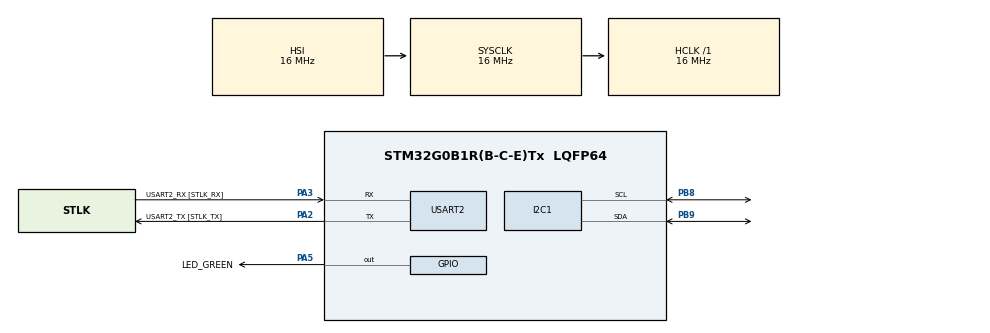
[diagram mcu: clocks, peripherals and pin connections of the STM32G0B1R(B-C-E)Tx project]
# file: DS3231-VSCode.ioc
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Mcu.Family=STM32G0
Mcu.Name=STM32G0B1R(B-C-E)Tx
Mcu.Package=LQFP64
PA13.GPIO_Label=TMS
PA13.Mode=Serial_Wire
PA13.Signal=SYS_SWDIO
PA14-BOOT0.GPIO_Label=TCK
PA14-BOOT0.Mode=Serial_Wire
PA14-BOOT0.Signal=SYS_SWCLK
PA2.GPIO_Label=USART2_TX [STLK_TX]
PA2.Mode=Asynchronous
PA2.Signal=USART2_TX
PA3.GPIO_Label=USART2_RX [STLK_RX]
PA3.Mode=Asynchronous
PA3.Signal=USART2_RX
PA5.GPIO_Label=LED_GREEN
PA5.GPIO_Speed=GPIO_SPEED_FREQ_HIGH
PA5.Signal=GPIO_Output
PB8.Mode=I2C
PB8.Signal=I2C1_SCL
PB9.Mode=I2C
PB9.Signal=I2C1_SDA
PC13.Mode=SYS_WakeUp1
PC13.Signal=SYS_WKUP2
PC14-OSC32_IN\ (PC14).Mode=LSE-External-Oscillator
PC14-OSC32_IN\ (PC14).Signal=RCC_OSC32_IN
PC15-OSC32_OUT\ (PC15).Mode=LSE-External-Oscillator
PC15-OSC32_OUT\ (PC15).Signal=RCC_OSC32_OUT
PF0-OSC_IN\ (PF0).GPIO_Label=MCO
PF0-OSC_IN\ (PF0).Mode=HSE-External-Clock-Source
PF0-OSC_IN\ (PF0).Signal=RCC_OSC_IN
ProjectManager.HeapSize=0x200
ProjectManager.StackSize=0x400
ProjectManager.TargetToolchain=CMake
RCC.AHBFreq_Value=16000000
RCC.CortexFreq_Value=16000000
RCC.EXTERNAL_CLOCK_VALUE=12288000
RCC.HCLKFreq_Value=16000000
RCC.HSE_VALUE=8000000
RCC.HSI48_VALUE=48000000
RCC.HSI_VALUE=16000000
RCC.SYSCLKFreq_VALUE=16000000
RCC.USBFreq_Value=48000000
RCC.VCOOutputFreq_Value=128000000
USART2.VirtualMode-Asynchronous=VM_ASYNC
VP_SYS_VS_DBSignals.Mode=DisableDeadBatterySignals
board=NUCLEO-G0B1RE

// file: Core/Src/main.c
/* USER CODE BEGIN Header */
/**
  ******************************************************************************
  * @file           : main.c
  * @brief          : Main program body
  ******************************************************************************
  * @attention
  *
  * Copyright (c) 2024 STMicroelectronics.
  * All rights reserved.
  *
  * This software is licensed under terms that can be found in the LICENSE file
  * in the root directory of this software component.
  * If no LICENSE file comes with this software, it is provided AS-IS.
  *
  ******************************************************************************
  */
/* USER CODE END Header */
#include "main.h"

/* USER CODE BEGIN Includes */
#include <stdio.h>
#include <stdarg.h>

#include "ds3231.h"
/* USER CODE END Includes */

/* USER CODE BEGIN PD */
#define DS3231_I2C_DEV_ADDR 0x68
/* USER CODE END PD */

/* USER CODE BEGIN PM */
DS3231_I2C_DEVICE_DEFINE(clock_chip, "DS3231")
/* USER CODE END PM */

I2C_HandleTypeDef hi2c1;

UART_HandleTypeDef huart2;

/* USER CODE BEGIN PV */
uint8_t debug_buf[100];
/* USER CODE END PV */

void SystemClock_Config(void);
static void MX_GPIO_Init(void);
static void MX_I2C1_Init(void);
static void MX_USART2_UART_Init(void);
/* USER CODE BEGIN PFP */
static EMBEDD_RESULT ds3231_bus_write(const struct embedd_device_t* dev, const uint8_t* data_ptr, uint32_t data_size);
static EMBEDD_RESULT ds3231_bus_read(const struct embedd_device_t* dev, uint8_t* data_ptr, uint32_t data_size);

static void debug(const char *format, ...) __attribute__ ((format (printf, 1, 2)));
/* USER CODE END PFP */

/* USER CODE BEGIN 0 */
static embedd_bus_t ds3231_bus = {
    .write = ds3231_bus_write,
    .read = ds3231_bus_read
};
/* USER CODE END 0 */

int main(void)
{

  /* MCU Configuration--------------------------------------------------------*/

  /* Reset of all peripherals, Initializes the Flash interface and the Systick. */
  HAL_Init();

  /* Configure the system clock */
  SystemClock_Config();

  /* Initialize all configured peripherals */
  MX_GPIO_Init();
  MX_I2C1_Init();
  MX_USART2_UART_Init();
  /* USER CODE BEGIN 2 */
  /* Assign the I2C bus object to the device object */
  clock_chip.bus = &ds3231_bus;

  /* Configure the I2C device settings for the DS3231 */
  embedd_i2c_dev_cfg_t clock_chip_cfg = {.addr = DS3231_I2C_DEV_ADDR};
  embedd_i2c_set_dev_config(&clock_chip, &clock_chip_cfg);

  /* Clear the time keeping registers */
  uint8_t reg_value = 0;
   if (DS3231_WRITE_REG( clock_chip, ds3231_seconds,      reg_value ) == EMBEDD_RESULT_OK &&
       DS3231_WRITE_REG( clock_chip, ds3231_minutes,      reg_value ) == EMBEDD_RESULT_OK &&
       DS3231_WRITE_REG( clock_chip, ds3231_hour,         reg_value ) == EMBEDD_RESULT_OK &&
       DS3231_WRITE_REG( clock_chip, ds3231_day,          reg_value ) == EMBEDD_RESULT_OK &&
       DS3231_WRITE_REG( clock_chip, ds3231_date,         reg_value ) == EMBEDD_RESULT_OK &&
       DS3231_WRITE_REG( clock_chip, ds3231_monthcentury, reg_value ) == EMBEDD_RESULT_OK &&
       DS3231_WRITE_REG( clock_chip, ds3231_year,         reg_value ) == EMBEDD_RESULT_OK)
    {
        debug("Clock has been successfully reset\r\n");
    }

  /* USER CODE END 2 */

  /* Infinite loop */
  /* USER CODE BEGIN WHILE */
  while (1)
  {
    uint8_t seconds_reg         = 0;
    uint8_t minutes_reg         = 0;
    uint8_t hour_reg            = 0;
    uint8_t day_reg             = 0;
    uint8_t date_reg            = 0;
    uint8_t monthcentury_reg    = 0;
    uint8_t year_reg            = 0;
    uint8_t alarm_1_seconds_reg = 0;
    uint8_t alarm_1_minutes_reg = 0;
    uint8_t alarm_1_hour_reg    = 0;
    uint8_t alarm_1_daydate_reg = 0;
    uint8_t alarm_2_minutes_reg = 0;
    uint8_t alarm_2_hour_reg    = 0;
    uint8_t alarm_2_daydate_reg = 0;
    uint8_t control_reg         = 0;
    uint8_t status_reg          = 0;
    uint8_t aging_offset_reg    = 0;
    uint8_t msb_of_temp_reg     = 0;
    uint8_t lsb_of_temp_reg     = 0;

    // Read all registers
    if (DS3231_READ_REG( clock_chip, ds3231_seconds,         seconds_reg )         == EMBEDD_RESULT_OK &&
        DS3231_READ_REG( clock_chip, ds3231_minutes,         minutes_reg )         == EMBEDD_RESULT_OK &&
        DS3231_READ_REG( clock_chip, ds3231_hour,            hour_reg )            == EMBEDD_RESULT_OK &&
        DS3231_READ_REG( clock_chip, ds3231_day,             day_reg )             == EMBEDD_RESULT_OK &&
        DS3231_READ_REG( clock_chip, ds3231_date,            date_reg )            == EMBEDD_RESULT_OK &&
        DS3231_READ_REG( clock_chip, ds3231_monthcentury,    monthcentury_reg )    == EMBEDD_RESULT_OK &&
        DS3231_READ_REG( clock_chip, ds3231_year,            year_reg )            == EMBEDD_RESULT_OK &&
        DS3231_READ_REG( clock_chip, ds3231_alarm_1_seconds, alarm_1_seconds_reg ) == EMBEDD_RESULT_OK &&
        DS3231_READ_REG( clock_chip, ds3231_alarm_1_minutes, alarm_1_minutes_reg ) == EMBEDD_RESULT_OK &&
        DS3231_READ_REG( clock_chip, ds3231_alarm_1_hour,    alarm_1_hour_reg )    == EMBEDD_RESULT_OK &&
        DS3231_READ_REG( clock_chip, ds3231_alarm_1_daydate, alarm_1_daydate_reg ) == EMBEDD_RESULT_OK &&
        DS3231_READ_REG( clock_chip, ds3231_alarm_2_minutes, alarm_2_minutes_reg ) == EMBEDD_RESULT_OK &&
        DS3231_READ_REG( clock_chip, ds3231_alarm_2_hour,    alarm_2_hour_reg )    == EMBEDD_RESULT_OK &&
        DS3231_READ_REG( clock_chip, ds3231_alarm_2_daydate, alarm_2_daydate_reg ) == EMBEDD_RESULT_OK &&
        DS3231_READ_REG( clock_chip, ds3231_control,         control_reg )         == EMBEDD_RESULT_OK &&
        DS3231_READ_REG( clock_chip, ds3231_status,          status_reg )          == EMBEDD_RESULT_OK &&
        DS3231_READ_REG( clock_chip, ds3231_aging_offset,    aging_offset_reg )    == EMBEDD_RESULT_OK &&
        DS3231_READ_REG( clock_chip, ds3231_msb_of_temp,     msb_of_temp_reg )     == EMBEDD_RESULT_OK &&
        DS3231_READ_REG( clock_chip, ds3231_lsb_of_temp,     lsb_of_temp_reg )     == EMBEDD_RESULT_OK)
    {
      /* USER CODE BEGIN IN CASE OF SUCCESS */
      debug("Register map:\r\n");
      debug("  SECONDS           - 0x%02X\r\n", seconds_reg);
      debug("  MINUTES           - 0x%02X\r\n", minutes_reg);
      debug("  HOUR              - 0x%02X\r\n", hour_reg);
      debug("  DAY               - 0x%02X\r\n", day_reg);
      debug("  DATE              - 0x%02X\r\n", date_reg);
      debug("  MONTH_CENTURY     - 0x%02X\r\n", monthcentury_reg);
      debug("  YEAR              - 0x%02X\r\n", year_reg);
      debug("  ALARM_1_SECONDS   - 0x%02X\r\n", alarm_1_seconds_reg);
      debug("  ALARM_1_MINUTES   - 0x%02X\r\n", alarm_1_minutes_reg);
      debug("  ALARM_1_HOUR      - 0x%02X\r\n", alarm_1_hour_reg);
      debug("  ALARM_2_MINUTES   - 0x%02X\r\n", alarm_2_minutes_reg);
      debug("  ALARM_2_HOUR      - 0x%02X\r\n", alarm_2_hour_reg);
      debug("  ALARM_2_DAY_DATE  - 0x%02X\r\n", alarm_2_daydate_reg);
      debug("  CONTROL           - 0x%02X\r\n", control_reg);
      debug("  STATUS            - 0x%02X\r\n", status_reg);
      debug("  AGING_OFFSET      - 0x%02X\r\n", aging_offset_reg);
      debug("  TEMPERATURE_MSB   - 0x%02X\r\n", msb_of_temp_reg);
      debug("  TEMPERATURE_LSB   - 0x%02X\r\n", lsb_of_temp_reg);
      /* USER CODE END IN CASE OF SUCCESS */
    }
    else
    {
      /* USER CODE BEGIN IN CASE OF ERROR */
      debug("Registers reading error!\r\n");
      /* USER CODE END IN CASE OF ERROR */
    }
    HAL_Delay(5000); // Wait 5 seconds before reading again
    /* USER CODE END WHILE */

  }
}

void SystemClock_Config(void)
{
  RCC_OscInitTypeDef RCC_OscInitStruct = {0};
  RCC_ClkInitTypeDef RCC_ClkInitStruct = {0};

  /** Configure the main internal regulator output voltage
  */
  HAL_PWREx_ControlVoltageScaling(PWR_REGULATOR_VOLTAGE_SCALE1);

  /** Initializes the RCC Oscillators according to the specified parameters
  * in the RCC_OscInitTypeDef structure.
  */
  RCC_OscInitStruct.OscillatorType = RCC_OSCILLATORTYPE_HSI;
  RCC_OscInitStruct.HSIState = RCC_HSI_ON;
  RCC_OscInitStruct.HSIDiv = RCC_HSI_DIV1;
  RCC_OscInitStruct.HSICalibrationValue = RCC_HSICALIBRATION_DEFAULT;
  RCC_OscInitStruct.PLL.PLLState = RCC_PLL_NONE;
  if (HAL_RCC_OscConfig(&RCC_OscInitStruct) != HAL_OK)
  {
    Error_Handler();
  }

  /** Initializes the CPU, AHB and APB buses clocks
  */
  RCC_ClkInitStruct.ClockType = RCC_CLOCKTYPE_HCLK|RCC_CLOCKTYPE_SYSCLK
                              |RCC_CLOCKTYPE_PCLK1;
  RCC_ClkInitStruct.SYSCLKSource = RCC_SYSCLKSOURCE_HSI;
  RCC_ClkInitStruct.AHBCLKDivider = RCC_SYSCLK_DIV1;
  RCC_ClkInitStruct.APB1CLKDivider = RCC_HCLK_DIV1;

  if (HAL_RCC_ClockConfig(&RCC_ClkInitStruct, FLASH_LATENCY_0) != HAL_OK)
  {
    Error_Handler();
  }
}

static void MX_I2C1_Init(void)
{

  hi2c1.Instance = I2C1;
  hi2c1.Init.Timing = 0x00303D5B;
  hi2c1.Init.OwnAddress1 = 0;
  hi2c1.Init.AddressingMode = I2C_ADDRESSINGMODE_7BIT;
  hi2c1.Init.DualAddressMode = I2C_DUALADDRESS_DISABLE;
  hi2c1.Init.OwnAddress2 = 0;
  hi2c1.Init.OwnAddress2Masks = I2C_OA2_NOMASK;
  hi2c1.Init.GeneralCallMode = I2C_GENERALCALL_DISABLE;
  hi2c1.Init.NoStretchMode = I2C_NOSTRETCH_DISABLE;
  if (HAL_I2C_Init(&hi2c1) != HAL_OK)
  {
    Error_Handler();
  }

  /** Configure Analogue filter
  */
  if (HAL_I2CEx_ConfigAnalogFilter(&hi2c1, I2C_ANALOGFILTER_ENABLE) != HAL_OK)
  {
    Error_Handler();
  }

  /** Configure Digital filter
  */
  if (HAL_I2CEx_ConfigDigitalFilter(&hi2c1, 0) != HAL_OK)
  {
    Error_Handler();
  }

}

static void MX_USART2_UART_Init(void)
{

  huart2.Instance = USART2;
  huart2.Init.BaudRate = 115200;
  huart2.Init.WordLength = UART_WORDLENGTH_8B;
  huart2.Init.StopBits = UART_STOPBITS_1;
  huart2.Init.Parity = UART_PARITY_NONE;
  huart2.Init.Mode = UART_MODE_TX_RX;
  huart2.Init.HwFlowCtl = UART_HWCONTROL_NONE;
  huart2.Init.OverSampling = UART_OVERSAMPLING_16;
  huart2.Init.OneBitSampling = UART_ONE_BIT_SAMPLE_DISABLE;
  huart2.Init.ClockPrescaler = UART_PRESCALER_DIV1;
  huart2.AdvancedInit.AdvFeatureInit = UART_ADVFEATURE_NO_INIT;
  if (HAL_UART_Init(&huart2) != HAL_OK)
  {
    Error_Handler();
  }
  if (HAL_UARTEx_SetTxFifoThreshold(&huart2, UART_TXFIFO_THRESHOLD_1_8) != HAL_OK)
  {
    Error_Handler();
  }
  if (HAL_UARTEx_SetRxFifoThreshold(&huart2, UART_RXFIFO_THRESHOLD_1_8) != HAL_OK)
  {
    Error_Handler();
  }
  if (HAL_UARTEx_DisableFifoMode(&huart2) != HAL_OK)
  {
    Error_Handler();
  }

}

static void MX_GPIO_Init(void)
{
  GPIO_InitTypeDef GPIO_InitStruct = {0};

  /* GPIO Ports Clock Enable */
  __HAL_RCC_GPIOC_CLK_ENABLE();
  __HAL_RCC_GPIOF_CLK_ENABLE();
  __HAL_RCC_GPIOA_CLK_ENABLE();
  __HAL_RCC_GPIOB_CLK_ENABLE();

  /*Configure GPIO pin Output Level */
  HAL_GPIO_WritePin(LED_GREEN_GPIO_Port, LED_GREEN_Pin, GPIO_PIN_RESET);

  /*Configure GPIO pin : LED_GREEN_Pin */
  GPIO_InitStruct.Pin = LED_GREEN_Pin;
  GPIO_InitStruct.Mode = GPIO_MODE_OUTPUT_PP;
  GPIO_InitStruct.Pull = GPIO_NOPULL;
  GPIO_InitStruct.Speed = GPIO_SPEED_FREQ_HIGH;
  HAL_GPIO_Init(LED_GREEN_GPIO_Port, &GPIO_InitStruct);

}

/* USER CODE BEGIN 4 */
EMBEDD_RESULT ds3231_bus_write(const struct embedd_device_t* dev, const uint8_t* data_ptr, uint32_t data_size)
{
  if( ( dev == NULL ) || ( data_ptr == NULL ) )
  {
    return EMBEDD_RESULT_ERR;
  }

  //Extracting I2C configurations from the device object
  embedd_i2c_dev_cfg_t* dev_cfg = embedd_i2c_get_dev_config( dev );
  if( dev_cfg == NULL )
  {
      return EMBEDD_RESULT_ERR;
  }

  //Writing data to the bus
  HAL_StatusTypeDef status = HAL_I2C_Master_Transmit(&hi2c1, (dev_cfg->addr << 1), (uint8_t*)data_ptr, data_size, 100);
  if( status != HAL_OK)
  {
      return EMBEDD_RESULT_ERR;
  }

  return EMBEDD_RESULT_OK;
}

EMBEDD_RESULT ds3231_bus_read(const struct embedd_device_t* dev, uint8_t* data_ptr, uint32_t data_size)
{
  if( ( dev == NULL ) || ( data_ptr == NULL ) )
  {
      return EMBEDD_RESULT_ERR;
  }

  //Extracting I2C configurations from the device object
  embedd_i2c_dev_cfg_t* dev_cfg = embedd_i2c_get_dev_config( dev );
  if( dev_cfg == NULL ){
      return EMBEDD_RESULT_ERR;
  }

  //Reading data from the bus
  HAL_StatusTypeDef status = HAL_I2C_Master_Receive(&hi2c1, (dev_cfg->addr << 1), data_ptr, data_size, 100);
  if( status != HAL_OK)
  {
      return EMBEDD_RESULT_ERR;
  }

  return EMBEDD_RESULT_OK;
}

void embedd_hal_sleep( uint32_t mseconds )
{
    HAL_Delay(mseconds);
}

void debug(const char *format, ...)
{
    va_list args;

    va_start(args, format);
    uint16_t debug_msg_size = vsnprintf((char *)debug_buf, sizeof debug_buf, format, args);
    va_end(args);

    HAL_UART_Transmit(&huart2, debug_buf, debug_msg_size, 100);
}
/* USER CODE END 4 */

void Error_Handler(void)
{
  __disable_irq();
  while (1)
  {
  }
}
